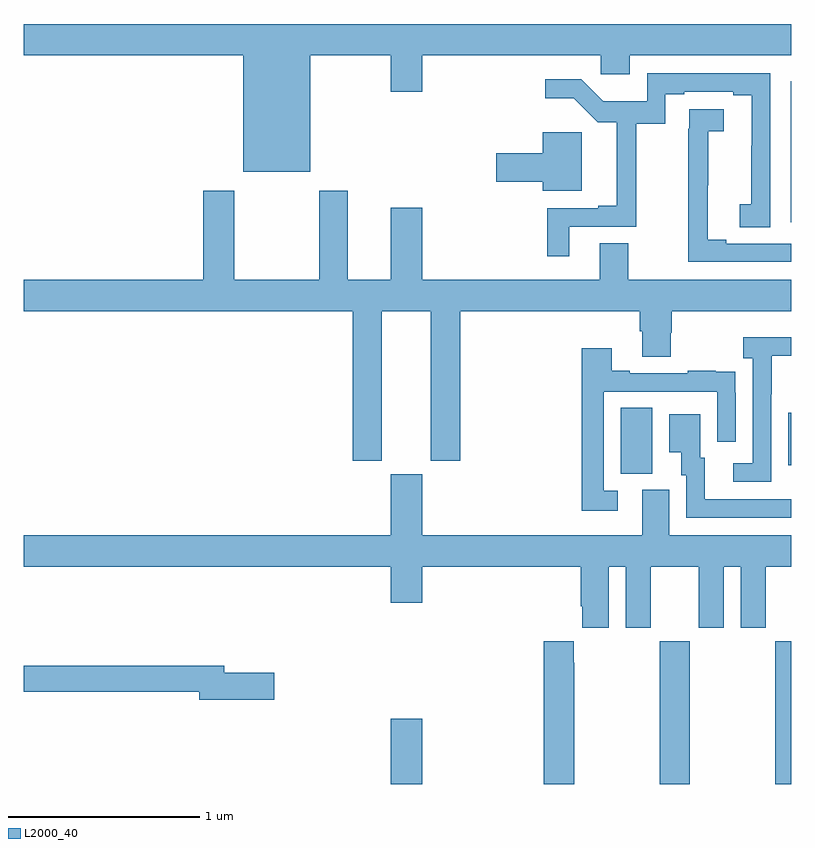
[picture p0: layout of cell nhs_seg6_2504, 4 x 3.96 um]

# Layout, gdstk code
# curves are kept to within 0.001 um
import gdstk
lib = gdstk.Library(unit=1e-6, precision=1e-09)
def R(c, l, rs):  # rectangles x0, y0, x1, y1
    for r in rs: c.add(gdstk.rectangle(r[:2], r[2:], *l))
def P(c, l, *ps):  # polygons
    for p in ps: c.add(gdstk.Polygon(p, *l))
L2000_40 = (2000, 40)

nhs_seg6_2504 = lib.new_cell('nhs_seg6_2504')
R(nhs_seg6_2504, L2000_40, [(260.912,983.5,261.076,983.839), (262.315,983.5,262.47,984.244), (262.915,983.5,263,984.244), (262.112,985.117,262.276,985.46), (262.985,985.161,263,985.435), (262.997,986.427,263,987.163)])
P(nhs_seg6_2504, L2000_40, [(260.494,987.296),(260.912,987.296),(260.912,987.108),(261.076,987.108),(261.076,987.296),(262.008,987.296),(262.008,987.198),(262.159,987.198),(262.159,987.296),(263,987.296),(263,987.46),(259,987.46),(259,987.296),(260.144,987.296),(260.144,986.69),(260.494,986.69)],
  [(261.844,986.403),(262.193,986.403),(262.193,986.941),(262.344,986.941),(262.344,987.094),(262.441,987.094),(262.441,987.108),(262.697,987.108),(262.697,987.088),(262.793,987.088),(262.792,986.521),(262.731,986.521),(262.731,986.401),(262.89,986.401),(262.89,987.204),(262.248,987.204),(262.248,987.058),(262.019,987.058),(261.906,987.171),(261.717,987.171),(261.717,987.074),(261.865,987.074),(261.991,986.949),(262.091,986.949),(262.091,986.512),(261.995,986.512),(261.995,986.499),(261.727,986.499),(261.727,986.25),(261.844,986.25)],
  [(263,986.316),(262.66,986.316),(262.66,986.336),(262.564,986.336),(262.564,986.619),(262.566,986.619),(262.566,986.902),(262.648,986.902),(262.648,987.017),(262.468,987.017),(262.468,986.915),(262.462,986.915),(262.462,986.22),(263,986.22)],
  [(261.907,986.896),(261.704,986.896),(261.704,986.786),(261.462,986.786),(261.462,986.639),(261.704,986.639),(261.704,986.591),(261.907,986.591)],
  [(262.149,986.318),(262.001,986.318),(262.001,986.128),(261.076,986.128),(261.076,986.503),(260.912,986.503),(260.912,986.128),(260.689,986.128),(260.689,986.59),(260.541,986.59),(260.541,986.128),(260.097,986.128),(260.097,986.59),(259.937,986.59),(259.937,986.128),(259,986.128),(259,985.964),(260.714,985.964),(260.714,985.185),(260.866,985.185),(260.866,985.964),(261.122,985.964),(261.122,985.185),(261.275,985.185),(261.275,985.964),(262.211,985.964),(262.211,985.858),(262.223,985.858),(262.223,985.726),(262.371,985.726),(262.371,985.851),(262.376,985.851),(262.376,985.964),(263,985.964),(263,986.128),(262.149,986.128)],
  [(262.896,985.531),(262.897,985.531),(262.897,985.731),(263,985.731),(263,985.828),(262.749,985.828),(262.749,985.718),(262.8,985.718),(262.8,985.17),(262.698,985.17),(262.698,985.074),(262.896,985.074)],
  [(262.096,985.029),(262.023,985.029),(262.023,985.545),(262.614,985.545),(262.614,985.284),(262.71,985.284),(262.71,985.538),(262.709,985.538),(262.709,985.647),(262.607,985.647),(262.607,985.654),(262.459,985.654),(262.459,985.641),(262.159,985.641),(262.159,985.654),(262.063,985.654),(262.063,985.771),(261.907,985.771),(261.907,984.924),(262.096,984.924)],
  [(263,984.984),(262.549,984.984),(262.549,985.2),(262.525,985.2),(262.525,985.426),(262.364,985.426),(262.364,985.229),(262.427,985.229),(262.427,985.11),(262.452,985.11),(262.452,984.888),(263,984.888)],
  [(262.048,984.632),(262.136,984.632),(262.136,984.315),(262.267,984.315),(262.267,984.632),(262.517,984.632),(262.517,984.315),(262.648,984.315),(262.648,984.632),(262.736,984.632),(262.736,984.315),(262.867,984.315),(262.867,984.632),(263,984.632),(263,984.796),(262.363,984.796),(262.363,985.032),(262.223,985.032),(262.223,984.796),(261.076,984.796),(261.076,985.113),(260.912,985.113),(260.912,984.796),(259,984.796),(259,984.632),(260.912,984.632),(260.912,984.444),(261.076,984.444),(261.076,984.632),(261.904,984.632),(261.904,984.427),(261.911,984.427),(261.911,984.315),(262.048,984.315)],
  [(261.87,984.131),(261.865,984.131),(261.865,984.244),(261.71,984.244),(261.71,983.5),(261.87,983.5)],
  [(260.305,984.08),(260.044,984.08),(260.044,984.116),(259,984.116),(259,983.98),(259.916,983.98),(259.916,983.938),(260.305,983.938)])

lib.write_gds('nhs_seg6_2504.gds')
